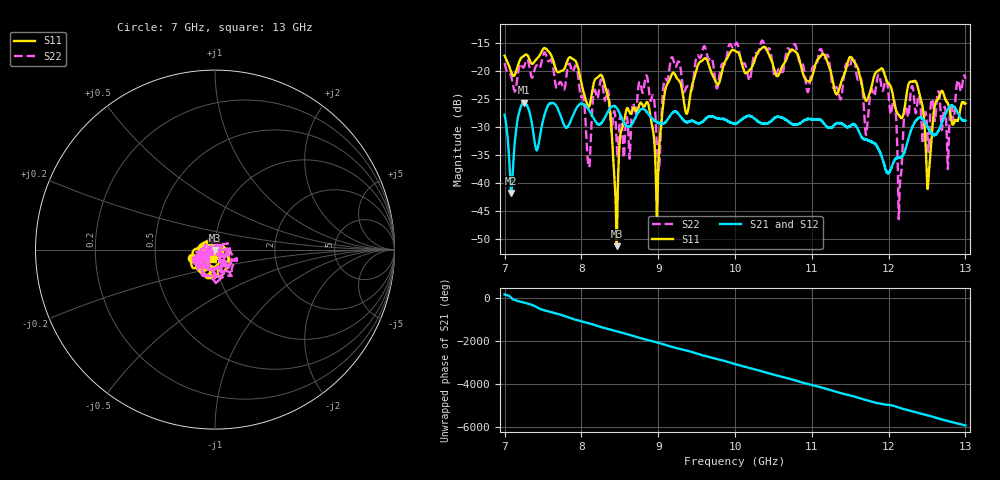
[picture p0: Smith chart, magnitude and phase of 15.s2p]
[Version] 2.0
! Rohde & Schwarz Vector Network Analyzer
! Rohde-Schwarz,ZNL20-2Port,1323001220200009,1.71.1.10-23.02.1.238
! Port Assignments:
! Nominal Port -> Actual Test Port
!  1 -> 1
!  2 -> 2
! Created: GMT+3 2024-09-24 15:14:18
# Hz S DB R 50
[Number of Ports] 2
[Two-Port Data Order] 21_12
! freq[Hz]  S11[mag dB]  S11[ang]  S21[mag dB]  S21[ang]  S12[mag dB]  S12[ang]  S22[mag dB]  S22[ang]
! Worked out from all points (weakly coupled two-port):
!   6001 points, 7 GHz to 13 GHz, reference 50 ohm
!   highest |S21| = -25.63 dB at 7.255 GHz (marker M1); lowest = -41.7 dB at 7.088 GHz (marker M2)
!   lowest |S11| = -51.2 dB at 8.461 GHz (marker M3), VSWR 1.01, Z = 50.2 - j0.184 ohm
!   |S11| at or under -10 dB: start of sweep to end of sweep
!   |S22| runs from -46.4 to -14.6 dB; largest |S21 - S12| = 0.00072
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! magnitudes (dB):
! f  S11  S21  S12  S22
! 7 GHz  -17.3  -27.8  -27.8  -18.6
! 7.088 GHz  -20.2  -41.7  -41.7  -21.0
! 7.255 GHz  -17.3  -25.6  -25.7  -19.2
! 7.42 GHz  -17.8  -34.1  -34.1  -19.0
! 8 GHz  -22.2  -25.8  -25.8  -24.6
! 8.094 GHz  -26.4  -26.9  -26.9  -37.0
! 8.294 GHz  -21.9  -28.6  -28.6  -24.5
! 8.461 GHz  -51.2  -26.6  -26.6  -33.5
! 8.599 GHz  -26.6  -29.9  -29.9  -28.7
! 8.847 GHz  -25.6  -27.2  -27.2  -20.8
! 9 GHz  -37.3  -29.2  -29.2  -37.1
! 9.175 GHz  -20.6  -27.6  -27.6  -17.6
! 9.372 GHz  -27.6  -29.1  -29.2  -22.8
! 10 GHz  -16.4  -29.3  -29.4  -15.4
! 11 GHz  -21.2  -28.6  -28.6  -19.8
! 12 GHz  -22.2  -38.2  -38.2  -24.3
! 12.15 GHz  -28.1  -35.4  -35.4  -40.2
! 12.3 GHz  -21.9  -30.3  -30.3  -22.7
! 12.52 GHz  -39.7  -30.2  -30.2  -34.4
! 12.67 GHz  -24.1  -30.1  -30.1  -25.7
! 12.78 GHz  -25.9  -26.7  -26.7  -36.5
! 13 GHz  -25.8  -28.8  -28.8  -21.4
